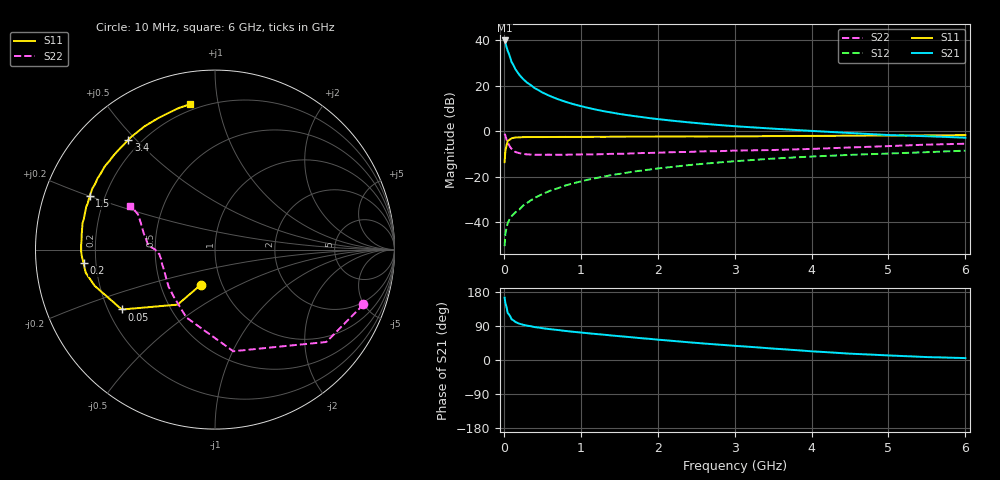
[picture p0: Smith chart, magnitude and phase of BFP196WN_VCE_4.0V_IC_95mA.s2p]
! (c) 2017  Infineon Technologies AG, Munich
! Infineon Technologies  Discrete & RF Semiconductors
! BFP196WN
! VCE =  4.0 V,  IC =  95 mA
! Common Emitter S-Parameters:  Jan 2017
# GHz  S  MA  R  50
!  f  S11  S21  S12  S22
! GHz  MAG  ANG  MAG  ANG  MAG  ANG  MAG  ANG
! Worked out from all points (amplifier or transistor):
!   77 points, 10 MHz to 6 GHz, reference 50 ohm
!   highest |S21| = 39.9 dB at 10 MHz (marker M1)
!   |S21| within 3 dB of that: start of sweep to 36.15 MHz
!   unconditionally stable (mu >= 1): 468.8 MHz to 2.64 GHz
!   at 130 MHz: K = 0.71, MSG = 32.4 dB, |S12| = -36.2 dB
!   at 2.2 GHz: K = 1.02, MAG = 9.3 dB, |S12| = -15.6 dB
!   at 6 GHz: K = 0.92, MSG = 2.8 dB, |S12| = -8.5 dB
!   S11 on the Smith chart (normalised r, x): 10 MHz: 0.80, -0.32; 50 MHz: 0.26, -0.28; 200 MHz: 0.15, -0.05; 1.5 GHz: 0.14, +0.20; 3.4 GHz: 0.15, +0.48; 6 GHz: 0.17, +0.83
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0.01  0.2094 -111.7  98.39 164.6  0.003 79.4  0.8816 -20.3
0.02  0.3709 -124.2  86.83 149.9  0.0056 66.8  0.8059 -39.7
0.05  0.6173 -147.3  58.22 123.9  0.0096 56.3  0.5755 -79.8
0.1  0.7006 -163.3  33.25 107.5  0.0136 53.6  0.4106 -112.8
0.15  0.7318 -169.9  23.03 100.3  0.0166 57.2  0.3506 -130.5
0.2  0.7362 -174.1  17.43 96.0  0.019 62.3  0.3314 -141.1
0.25  0.7417 -176.6  14.03 93.0  0.0234 64.3  0.3188 -147.6
0.3  0.7456 -178.8  11.76 90.7  0.0265 66.1  0.3107 -153.1
0.4  0.7462 177.8  8.863 86.9  0.0342 69.6  0.3056 -159.4
0.5  0.7455 175.3  7.099 84.0  0.0417 70.7  0.3054 -163.9
0.6  0.7478 173.0  5.933 81.4  0.0493 71.8  0.3058 -167.0
0.7  0.7494 171.0  5.076 79.2  0.056 72.5  0.3039 -169.2
0.9  0.7504 167.0  3.948 74.5  0.0718 71.6  0.3077 -172.2
1.1  0.7536 163.5  3.244 70.5  0.0869 71.5  0.3103 -174.8
1.3  0.7545 160.0  2.754 66.8  0.1014 70.1  0.3151 -176.0
1.5  0.7591 156.9  2.404 62.9  0.1158 68.6  0.3201 -178.2
2.1  0.765 147.5  1.773 52.1  0.1589 64.1  0.3424 179.0
3.1  0.7736 132.6  1.258 36.1  0.2256 55.2  0.3781 174.5
3.4  0.7794 128.3  1.168 31.7  0.2445 52.6  0.385 172.4
4.1  0.7917 118.5  0.996 21.8  0.2832 46.3  0.4153 165.2
5.1  0.8059 107.8  0.816 11.2  0.3288 38.4  0.4792 155.0
6  0.8213 99.9  0.722 5.0  0.375 32.5  0.5318 152.9
